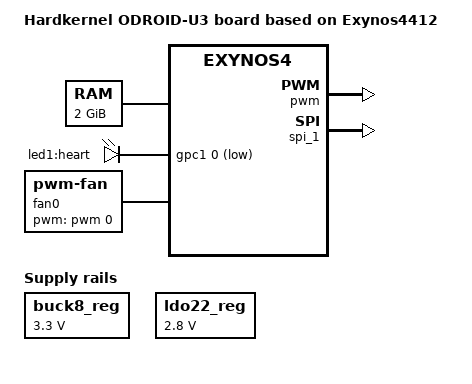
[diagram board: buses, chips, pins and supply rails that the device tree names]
/*
 * Hardkernel's Exynos4412 based ODROID-U3 board device tree source
 *
 * Copyright (c) 2014 Marek Szyprowski <m.szyprowski@samsung.com>
 *
 * Device tree source file for Hardkernel's ODROID-U3 board which is based
 * on Samsung's Exynos4412 SoC.
 *
 * This program is free software; you can redistribute it and/or modify
 * it under the terms of the GNU General Public License version 2 as
 * published by the Free Software Foundation.
*/

/dts-v1/;
#include "exynos4412-odroid-common.dtsi"

/ {
	model = "Hardkernel ODROID-U3 board based on Exynos4412";
	compatible = "hardkernel,odroid-u3", "samsung,exynos4412", "samsung,exynos4";

	memory@40000000 {
		device_type = "memory";
		reg = <0x40000000 0x7FF00000>;
	};

	leds {
		compatible = "gpio-leds";
		led1 {
			label = "led1:heart";
			gpios = <&gpc1 0 GPIO_ACTIVE_LOW>;
			default-state = "on";
			linux,default-trigger = "heartbeat";
		};
	};

	fan0: pwm-fan {
		compatible = "pwm-fan";
		pwms = <&pwm 0 10000 0>;
		cooling-min-state = <0>;
		cooling-max-state = <3>;
		#cooling-cells = <2>;
		cooling-levels = <0 102 170 230>;
	};

	thermal-zones {
		cpu_thermal: cpu-thermal {
			cooling-maps {
				map0 {
				     trip = <&cpu_alert1>;
				     cooling-device = <&cpu0 7 7>;
				};
				map1 {
				     trip = <&cpu_alert2>;
				     cooling-device = <&cpu0 13 13>;
				};
				map2 {
				     trip = <&cpu_alert0>;
				     cooling-device = <&fan0 0 1>;
				};
				map3 {
				     trip = <&cpu_alert1>;
				     cooling-device = <&fan0 1 2>;
				};
				map4 {
				     trip = <&cpu_alert2>;
				     cooling-device = <&fan0 2 3>;
				};
			};
		};
	};
};

/* Supply for LAN9730/SMSC95xx */
&buck8_reg {
	regulator-name = "BUCK8_P3V3";
	regulator-min-microvolt = <3300000>;
	regulator-max-microvolt = <3300000>;
	//maxim,ena-gpios = <&gpa1 1 GPIO_ACTIVE_HIGH>;
	//regulator-always-on;
};

/* VDDQ for MSHC (eMMC card) */
&ldo22_reg {
	regulator-name = "LDO22_VDDQ_MMC4_2.8V";
	regulator-min-microvolt = <2800000>;
	regulator-max-microvolt = <2800000>;
};

&max77686 {
	pinctrl-0 = <&max77686_irq &max77686_enb8>;
};

&mshc_0 {
	vqmmc-supply = <&ldo22_reg>;
};

&pinctrl_0 {
	max77686_enb8: max77686-enb8 {
		samsung,pins = "gpa1-1";
		samsung,pin-function = <EXYNOS_PIN_FUNC_OUTPUT>;
		samsung,pin-pud = <EXYNOS_PIN_PULL_DOWN>;
		samsung,pin-drv = <EXYNOS4_PIN_DRV_LV1>;
	};
};

&pwm {
	pinctrl-0 = <&pwm0_out>;
	pinctrl-names = "default";
	samsung,pwm-outputs = <0>;
	status = "okay";
};

&usb3503 {
	clock-names = "refclk";
	clocks = <&pmu_system_controller 0>;
	refclk-frequency = <24000000>;

};

&ehci {
		#address-cells = <1>;
		#size-cells = <0>;
//	samsung,vbus-gpio = <&gpa1 1 GPIO_ACTIVE_HIGH>;
/*
	usbroot@1 {
		compatible = "usb1d6b,0002";
		reg = <1>;
		#address-cells = <1>;
		#size-cells = <0>;

		hub@3 {
			reg = <3>;
			compatible = "usb424,3503";
			reset-gpios = <&gpa1 1 GPIO_ACTIVE_HIGH>;
			reset-duration = <100>;
		};


	};
*/
	port@2 {
		//	reset-gpios = <&gpa1 1 GPIO_ACTIVE_HIGH>;
		//	reset-duration = <100>;
		status = "okay";
		//lan@2 {
			reg = <2>;
			compatible = "usb424,9730";
			//reset-gpios = <&gpa1 1 GPIO_ACTIVE_HIGH>;
			reset-gpios = <&gpa1 1 GPIO_ACTIVE_LOW>;
			reset-duration-us = <400>; // 350n, 400o
		//vbus-supply = <&buck8_reg>;
		//};
	};
	port@3 {
		status = "okay";
		#address-cells = <1>;
		#size-cells = <0>;
	//		reset-gpios = <&gpa1 1 GPIO_ACTIVE_HIGH>;
	//		reset-duration = <100>;
		//hub@3 {
		//	reg = <3>;
		//	compatible = "usb424,3503";
		//	reset-gpios = <&gpa1 1 GPIO_ACTIVE_HIGH>;
		//	reset-duration = <100>;
		//};
	};
/*
		hub@3 {
			reg = <3>;
			compatible = "usb424,3503";
			reset-gpios = <&gpa1 1 GPIO_ACTIVE_HIGH>;
			reset-duration = <100>;
		};
*/
};

&sound {
	simple-audio-card,name = "Odroid-U3";
	simple-audio-card,widgets =
		"Headphone", "Headphone Jack",
		"Speakers", "Speakers";
	simple-audio-card,routing =
		"Headphone Jack", "HPL",
		"Headphone Jack", "HPR",
		"Headphone Jack", "MICBIAS",
		"IN1", "Headphone Jack",
		"Speakers", "SPKL",
		"Speakers", "SPKR";
};

&spi_1 {
	pinctrl-names = "default";
	pinctrl-0 = <&spi1_bus>;
	cs-gpios = <&gpb 5 GPIO_ACTIVE_HIGH>;
	status = "okay";
};
